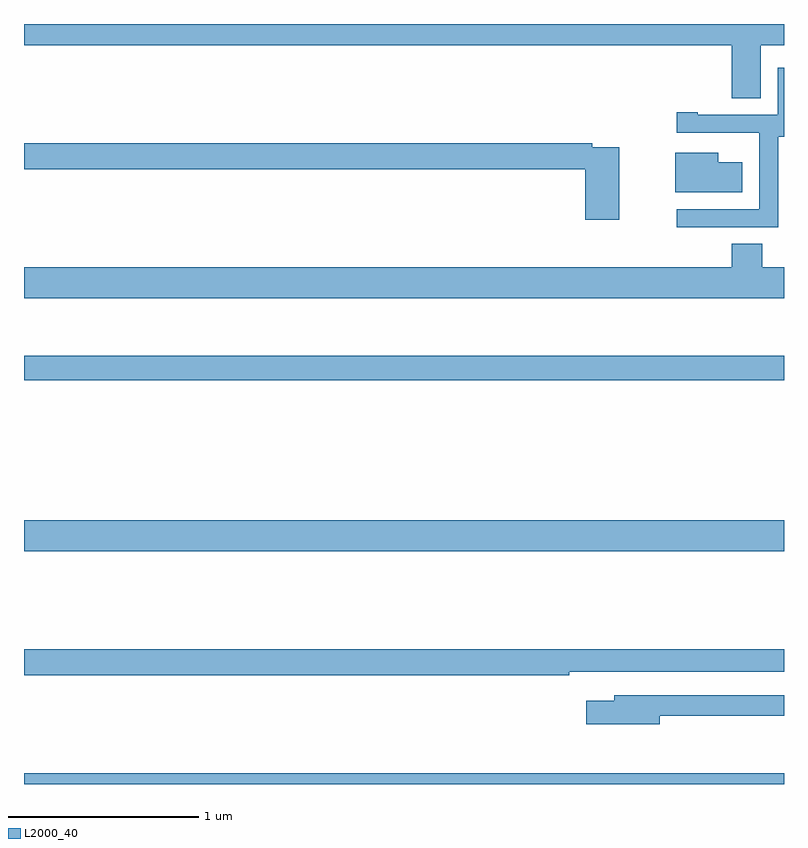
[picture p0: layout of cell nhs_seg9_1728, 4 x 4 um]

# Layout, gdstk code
import gdstk
lib = gdstk.Library(unit=1e-6, precision=1e-09)
def R(c, l, rs):  # rectangles x0, y0, x1, y1
    for r in rs: c.add(gdstk.rectangle(r[:2], r[2:], *l))
def P(c, l, *ps):  # polygons
    for p in ps: c.add(gdstk.Polygon(p, *l))
L2000_40 = (2000, 40)

nhs_seg9_1728 = lib.new_cell('nhs_seg9_1728')
R(nhs_seg9_1728, L2000_40, [(207,1224.5,211,1224.556), (207,1225.724,211,1225.888), (207,1226.626,211,1226.755)])
P(nhs_seg9_1728, L2000_40, [(210.877,1228.388),(211,1228.388),(211,1228.5),(207,1228.5),(207,1228.388),(210.725,1228.388),(210.725,1228.108),(210.877,1228.108)],
  [(210.969,1227.907),(211,1227.907),(211,1228.269),(210.966,1228.269),(210.966,1228.023),(210.547,1228.023),(210.547,1228.036),(210.435,1228.036),(210.435,1227.927),(210.869,1227.927),(210.869,1227.926),(210.87,1227.926),(210.87,1227.525),(210.435,1227.525),(210.435,1227.429),(210.969,1227.429)],
  [(210.132,1227.852),(209.99,1227.852),(209.99,1227.872),(207,1227.872),(207,1227.736),(209.954,1227.736),(209.954,1227.471),(210.132,1227.471)],
  [(210.781,1227.772),(210.655,1227.772),(210.655,1227.823),(210.428,1227.823),(210.428,1227.614),(210.781,1227.614)],
  [(211,1227.22),(210.885,1227.22),(210.885,1227.344),(210.725,1227.344),(210.725,1227.22),(207,1227.22),(207,1227.056),(211,1227.056)],
  [(209.87,1225.092),(211,1225.092),(211,1225.208),(207,1225.208),(207,1225.072),(209.87,1225.072)],
  [(210.346,1224.858),(211,1224.858),(211,1224.966),(210.107,1224.966),(210.107,1224.937),(209.958,1224.937),(209.958,1224.815),(210.346,1224.815)])

lib.write_gds('nhs_seg9_1728.gds')
